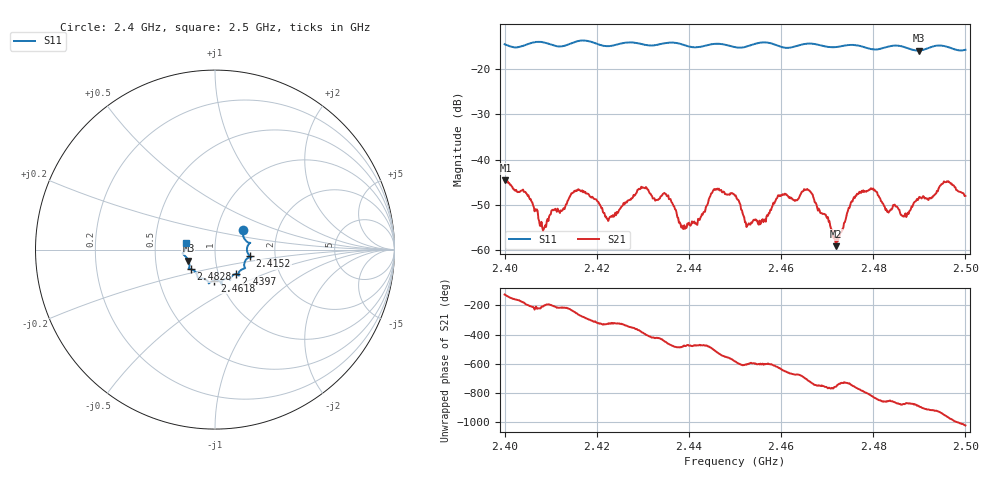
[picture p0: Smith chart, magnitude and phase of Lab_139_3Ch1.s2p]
# Hz S RI R 50
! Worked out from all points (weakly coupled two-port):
!   601 points, 2.4 GHz to 2.5 GHz, reference 50 ohm
!   highest |S21| = -44.55 dB at 2.4002 GHz (marker M1); lowest = -59.1 dB at 2.472 GHz (marker M2)
!   lowest |S11| = -15.9 dB at 2.4898 GHz (marker M3), VSWR 1.38, Z = 36.9 - j4.63 ohm
!   |S11| at or under -10 dB: start of sweep to end of sweep
!   S12 and S22 are empty: the file has one direction only
!   S11 on the Smith chart (normalised r, x): 2.4 GHz: 1.33, +0.29; 2.4152 GHz: 1.48, -0.12; 2.4397 GHz: 1.21, -0.34; 2.4618 GHz: 0.94, -0.33; 2.4828 GHz: 0.74, -0.17; 2.5 GHz: 0.72, +0.06
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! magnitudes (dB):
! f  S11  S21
! 2.4 GHz  -14.5  -44.6
! 2.4002 GHz  -14.6  -44.6
! 2.4048 GHz  -14.5  -47.6
! 2.4082 GHz  -14.0  -54.9
! 2.4152 GHz  -14.0  -46.8
! 2.4167 GHz  -13.7  -46.9
! 2.4223 GHz  -14.9  -53.1
! 2.4295 GHz  -14.4  -46.4
! 2.4333 GHz  -14.6  -48.8
! 2.4397 GHz  -14.9  -54.1
! 2.4457 GHz  -14.4  -46.6
! 2.45 GHz  -15.1  -47.9
! 2.453 GHz  -14.9  -54.0
! 2.4618 GHz  -15.3  -48.2
! 2.4667 GHz  -14.4  -47.5
! 2.472 GHz  -15.1  -59.1
! 2.477 GHz  -14.9  -47.1
! 2.4828 GHz  -15.1  -50.9
! 2.4833 GHz  -15.0  -51.6
! 2.4898 GHz  -15.9  -48.5
! 2.4958 GHz  -15.0  -44.9
! 2.5 GHz  -15.7  -48.0
